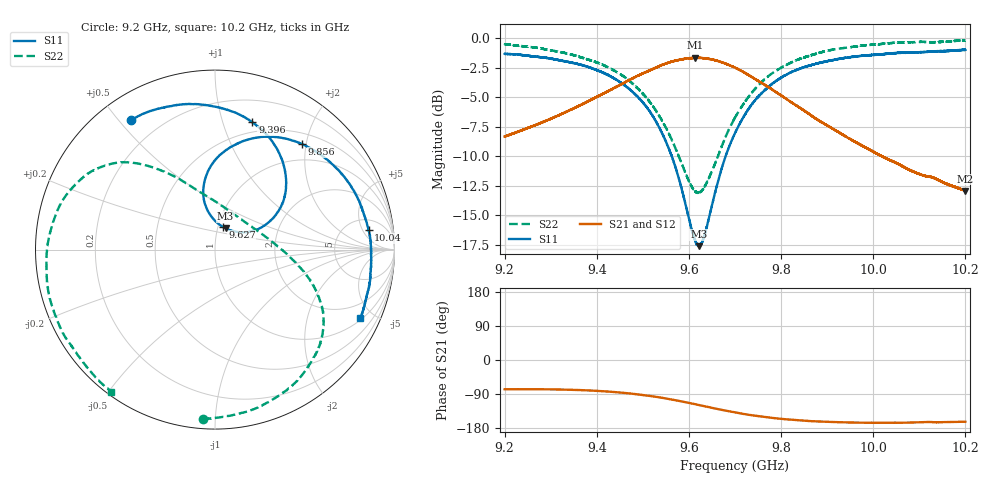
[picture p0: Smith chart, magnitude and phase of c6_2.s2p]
!Agilent Technologies,N5242A,MY51221714,A.09.90.19
!Agilent N5242A: A.09.90.19
!Date: Saturday, December 30, 2023 10:30:14
!Correction: S11(Full 2 Port(1,2))
!S21(Full 2 Port(1,2))
!S12(Full 2 Port(1,2))
!S22(Full 2 Port(1,2))
!S2P File: Measurements: S11, S21, S12, S22:
# Hz S  dB  R 50
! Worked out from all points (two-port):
!   16001 points, 9.2 GHz to 10.2 GHz, reference 50 ohm
!   highest |S21| = -1.64 dB at 9.613 GHz (marker M1); lowest = -12.9 dB at 10.2 GHz (marker M2)
!   |S21| within 3 dB of the highest: 9.416254 GHz to 9.41642 GHz (165.4 kHz wide, 0.00176 % of centre); 9.416 GHz to 9.792 GHz (376 MHz wide, 3.91 % of centre)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
!   lowest |S11| = -17.6 dB at 9.621 GHz (marker M3), VSWR 1.30, Z = 54.6 + j13.1 ohm
!   |S11| at or under -10 dB: 9.563 GHz to 9.68 GHz (116.6 MHz wide, 1.21 % of centre)
!   |S22| runs from -13.1 to -0.2 dB; largest |S21 - S12| = 0.012
!   S11 on the Smith chart (normalised r, x): 9.2 GHz: 0.10, +0.54; 9.396 GHz: 0.40, +1.26; 9.627 GHz: 1.05, +0.27; 9.856 GHz: 0.68, +1.92; 10.04 GHz: 8, +7; 10.2 GHz: 1.10, -4.19
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9.2e9  -1.31 122.9  -8.31 -77.3  -8.29 -78.0  -0.49 -94.0
9.27525e9  -1.58 105.1  -7.22 -77.3  -7.19 -77.8  -0.83 -73.9
9.366688e9  -2.25 81.8  -5.62 -79.5  -5.60 -80.3  -1.61 -50.8
9.395938e9  -2.62 73.6  -5.04 -81.2  -5.03 -82.0  -1.98 -43.7
9.471812e9  -4.32 51.0  -3.50 -88.4  -3.49 -89.0  -3.63 -26.6
9.533375e9  -7.40 32.3  -2.40 -98.1  -2.37 -98.7  -6.43 -11.2
9.570438e9  -10.88 25.6  -1.89 -106.1  -1.87 -106.9  -9.27 4.1
9.61325e9  -17.09 49.7  -1.64 -116.6  -1.64 -117.4  -12.94 45.2
9.6215e9  -17.61 63.5  -1.66 -118.8  -1.65 -119.5  -13.07 57.1
9.6265e9  -17.42 71.9  -1.66 -120.1  -1.64 -120.8  -12.96 64.1
9.665125e9  -11.83 102.3  -1.94 -130.1  -1.94 -130.7  -9.77 103.5
9.7e9  -8.03 97.9  -2.47 -138.3  -2.45 -139.0  -6.72 118.6
9.740375e9  -5.39 85.9  -3.36 -146.5  -3.36 -147.2  -4.42 128.9
9.778312e9  -3.93 73.9  -4.28 -152.3  -4.27 -153.2  -3.02 136.4
9.817188e9  -2.96 61.9  -5.28 -157.1  -5.28 -157.9  -2.13 143.9
9.856e9  -2.36 50.7  -6.27 -160.6  -6.27 -161.5  -1.53 151.2
9.866688e9  -2.23 47.6  -6.56 -161.5  -6.56 -162.1  -1.40 153.5
9.9575e9  -1.56 24.8  -8.70 -165.1  -8.69 -165.8  -0.71 173.5
1.003338e10  -1.29 7.8  -10.26 -165.5  -10.26 -166.3  -0.41 -168.5
1.0036e10  -1.28 7.3  -10.31 -165.5  -10.30 -166.3  -0.40 -167.8
1.010669e10  -1.17 -7.0  -11.58 -164.0  -11.58 -164.8  -0.29 -150.3
1.02e10  -0.97 -25.3  -12.92 -162.9  -12.89 -163.6  -0.18 -126.1
